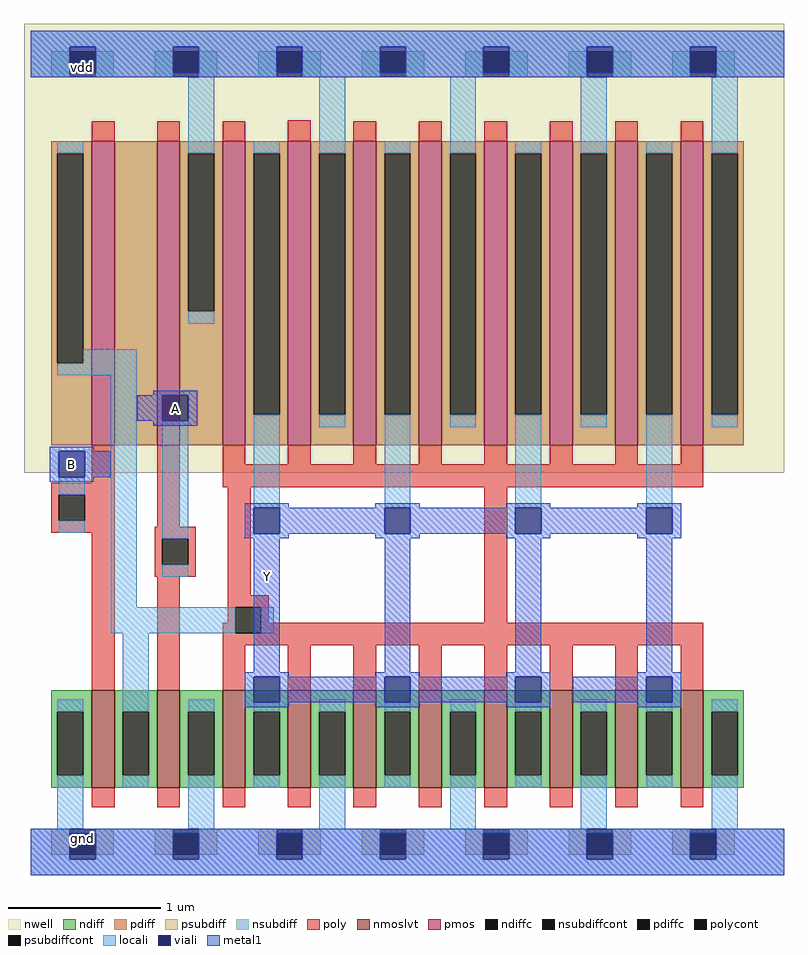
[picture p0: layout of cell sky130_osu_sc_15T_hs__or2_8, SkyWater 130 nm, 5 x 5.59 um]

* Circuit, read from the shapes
.subckt sky130_osu_sc_15T_hs__or2_8 Y A B
XM1 n1 B gnd gnd sky130_fd_pr__nfet_01v8_lvt w=0.64 l=0.15
XM2 gnd A n1 gnd sky130_fd_pr__nfet_01v8_lvt w=0.64 l=0.15
XM3 Y n1 gnd gnd sky130_fd_pr__nfet_01v8_lvt w=0.64 l=0.15 m=8
XM4 n2 B n1 vdd sky130_fd_pr__pfet_01v8 w=2 l=0.15
XM5 vdd A n2 vdd sky130_fd_pr__pfet_01v8 w=2 l=0.15
XM6 Y n1 vdd vdd sky130_fd_pr__pfet_01v8 w=2 l=0.15 m=8
.ends

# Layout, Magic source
magic
tech sky130A
magscale 1 2
<< nwell >>
rect -9 529 990 1119
<< nmoslvt >>
rect 80 115 110 243
rect 166 115 196 243
rect 252 115 282 243
rect 338 115 368 243
rect 424 115 454 243
rect 510 115 540 243
rect 596 115 626 243
rect 682 115 712 243
rect 768 115 798 243
rect 854 115 884 243
<< pmos >>
rect 80 565 110 965
rect 166 565 196 965
rect 252 565 282 965
rect 338 565 368 965
rect 424 565 454 965
rect 510 565 540 965
rect 596 565 626 965
rect 682 565 712 965
rect 768 565 798 965
rect 854 565 884 965
<< ndiff >>
rect 27 215 80 243
rect 27 131 35 215
rect 69 131 80 215
rect 27 115 80 131
rect 110 215 166 243
rect 110 131 121 215
rect 155 131 166 215
rect 110 115 166 131
rect 196 215 252 243
rect 196 131 207 215
rect 241 131 252 215
rect 196 115 252 131
rect 282 215 338 243
rect 282 131 293 215
rect 327 131 338 215
rect 282 115 338 131
rect 368 215 424 243
rect 368 131 379 215
rect 413 131 424 215
rect 368 115 424 131
rect 454 215 510 243
rect 454 131 465 215
rect 499 131 510 215
rect 454 115 510 131
rect 540 215 596 243
rect 540 131 551 215
rect 585 131 596 215
rect 540 115 596 131
rect 626 215 682 243
rect 626 131 637 215
rect 671 131 682 215
rect 626 115 682 131
rect 712 215 768 243
rect 712 131 723 215
rect 757 131 768 215
rect 712 115 768 131
rect 798 215 854 243
rect 798 131 809 215
rect 843 131 854 215
rect 798 115 854 131
rect 884 215 937 243
rect 884 131 895 215
rect 929 131 937 215
rect 884 115 937 131
<< pdiff >>
rect 27 949 80 965
rect 27 673 35 949
rect 69 673 80 949
rect 27 565 80 673
rect 110 565 166 965
rect 196 949 252 965
rect 196 741 207 949
rect 241 741 252 949
rect 196 565 252 741
rect 282 949 338 965
rect 282 605 293 949
rect 327 605 338 949
rect 282 565 338 605
rect 368 949 424 965
rect 368 605 379 949
rect 413 605 424 949
rect 368 565 424 605
rect 454 949 510 965
rect 454 605 465 949
rect 499 605 510 949
rect 454 565 510 605
rect 540 949 596 965
rect 540 605 551 949
rect 585 605 596 949
rect 540 565 596 605
rect 626 949 682 965
rect 626 605 637 949
rect 671 605 682 949
rect 626 565 682 605
rect 712 949 768 965
rect 712 605 723 949
rect 757 605 768 949
rect 712 565 768 605
rect 798 949 854 965
rect 798 605 809 949
rect 843 605 854 949
rect 798 565 854 605
rect 884 949 937 965
rect 884 605 895 949
rect 929 605 937 949
rect 884 565 937 605
<< ndiffc >>
rect 35 131 69 215
rect 121 131 155 215
rect 207 131 241 215
rect 293 131 327 215
rect 379 131 413 215
rect 465 131 499 215
rect 551 131 585 215
rect 637 131 671 215
rect 723 131 757 215
rect 809 131 843 215
rect 895 131 929 215
<< pdiffc >>
rect 35 673 69 949
rect 207 741 241 949
rect 293 605 327 949
rect 379 605 413 949
rect 465 605 499 949
rect 551 605 585 949
rect 637 605 671 949
rect 723 605 757 949
rect 809 605 843 949
rect 895 605 929 949
<< psubdiff >>
rect 27 27 51 61
rect 85 27 109 61
rect 163 27 187 61
rect 221 27 245 61
rect 299 27 323 61
rect 357 27 381 61
rect 435 27 459 61
rect 493 27 517 61
rect 571 27 595 61
rect 629 27 653 61
rect 707 27 731 61
rect 765 27 789 61
rect 843 27 867 61
rect 901 27 925 61
<< nsubdiff >>
rect 27 1049 51 1083
rect 85 1049 109 1083
rect 163 1049 187 1083
rect 221 1049 245 1083
rect 299 1049 323 1083
rect 357 1049 381 1083
rect 435 1049 459 1083
rect 493 1049 517 1083
rect 571 1049 595 1083
rect 629 1049 653 1083
rect 707 1049 731 1083
rect 765 1049 789 1083
rect 843 1049 867 1083
rect 901 1049 925 1083
<< psubdiffcont >>
rect 51 27 85 61
rect 187 27 221 61
rect 323 27 357 61
rect 459 27 493 61
rect 595 27 629 61
rect 731 27 765 61
rect 867 27 901 61
<< nsubdiffcont >>
rect 51 1049 85 1083
rect 187 1049 221 1083
rect 323 1049 357 1083
rect 459 1049 493 1083
rect 595 1049 629 1083
rect 731 1049 765 1083
rect 867 1049 901 1083
<< poly >>
rect 80 965 110 991
rect 166 965 196 991
rect 252 965 282 991
rect 338 965 368 992
rect 424 965 454 991
rect 510 965 540 991
rect 596 965 626 991
rect 682 965 712 991
rect 768 965 798 991
rect 854 965 884 991
rect 80 516 110 565
rect 27 500 110 516
rect 27 466 37 500
rect 71 466 110 500
rect 27 450 110 466
rect 166 458 196 565
rect 252 540 282 565
rect 338 540 368 565
rect 424 540 454 565
rect 510 540 540 565
rect 596 540 626 565
rect 682 540 712 565
rect 768 540 798 565
rect 854 540 884 565
rect 252 510 884 540
rect 80 243 110 450
rect 163 442 217 458
rect 163 408 173 442
rect 207 408 217 442
rect 163 392 217 408
rect 166 243 196 392
rect 259 368 289 510
rect 259 352 313 368
rect 259 332 269 352
rect 252 318 269 332
rect 303 332 313 352
rect 596 332 626 510
rect 303 318 884 332
rect 252 302 884 318
rect 252 243 282 302
rect 338 243 368 302
rect 424 243 454 302
rect 510 243 540 302
rect 596 243 626 302
rect 682 243 712 302
rect 768 243 798 302
rect 854 243 884 302
rect 80 89 110 115
rect 166 89 196 115
rect 252 89 282 115
rect 338 89 368 115
rect 424 89 454 115
rect 510 89 540 115
rect 596 89 626 115
rect 682 89 712 115
rect 768 89 798 115
rect 854 89 884 115
<< polycont >>
rect 37 466 71 500
rect 173 408 207 442
rect 269 318 303 352
<< locali >>
rect 0 1089 990 1110
rect 0 1049 51 1089
rect 85 1049 187 1089
rect 221 1049 323 1089
rect 357 1049 459 1089
rect 493 1049 595 1089
rect 629 1049 731 1089
rect 765 1049 867 1089
rect 901 1049 990 1089
rect 35 949 69 965
rect 207 949 241 1049
rect 207 725 241 741
rect 293 949 327 965
rect 69 673 139 691
rect 35 657 139 673
rect 37 500 71 523
rect 37 450 71 466
rect 105 352 139 657
rect 173 442 207 597
rect 293 483 327 605
rect 379 949 413 1049
rect 379 589 413 605
rect 465 949 499 965
rect 465 483 499 605
rect 551 949 585 1049
rect 551 589 585 605
rect 637 949 671 965
rect 637 483 671 605
rect 723 949 757 1049
rect 723 589 757 605
rect 809 949 843 965
rect 809 483 843 605
rect 895 949 929 1049
rect 895 589 929 605
rect 173 392 207 408
rect 105 318 269 352
rect 303 318 319 352
rect 35 215 69 231
rect 35 61 69 131
rect 121 215 155 318
rect 121 115 155 131
rect 207 215 241 231
rect 207 61 241 131
rect 293 215 327 227
rect 293 115 327 131
rect 379 215 413 231
rect 379 61 413 131
rect 465 215 499 227
rect 465 115 499 131
rect 551 215 585 231
rect 551 61 585 131
rect 637 215 671 227
rect 637 115 671 131
rect 723 215 757 231
rect 723 61 757 131
rect 809 215 843 227
rect 809 115 843 131
rect 895 215 929 231
rect 895 61 929 131
rect 0 21 51 61
rect 85 21 187 61
rect 221 21 323 61
rect 357 21 459 61
rect 493 21 595 61
rect 629 21 731 61
rect 765 21 867 61
rect 901 21 990 61
rect 0 0 990 21
<< viali >>
rect 51 1083 85 1089
rect 51 1055 85 1083
rect 187 1083 221 1089
rect 187 1055 221 1083
rect 323 1083 357 1089
rect 323 1055 357 1083
rect 459 1083 493 1089
rect 459 1055 493 1083
rect 595 1083 629 1089
rect 595 1055 629 1083
rect 731 1083 765 1089
rect 731 1055 765 1083
rect 867 1083 901 1089
rect 867 1055 901 1083
rect 37 523 71 557
rect 173 597 207 631
rect 293 449 327 483
rect 465 449 499 483
rect 637 449 671 483
rect 809 449 843 483
rect 293 227 327 261
rect 465 227 499 261
rect 637 227 671 261
rect 809 227 843 261
rect 51 27 85 55
rect 51 21 85 27
rect 187 27 221 55
rect 187 21 221 27
rect 323 27 357 55
rect 323 21 357 27
rect 459 27 493 55
rect 459 21 493 27
rect 595 27 629 55
rect 595 21 629 27
rect 731 27 765 55
rect 731 21 765 27
rect 867 27 901 55
rect 867 21 901 27
<< metal1 >>
rect 0 1089 990 1110
rect 0 1055 51 1089
rect 85 1055 187 1089
rect 221 1055 323 1089
rect 357 1055 459 1089
rect 493 1055 595 1089
rect 629 1055 731 1089
rect 765 1055 867 1089
rect 901 1055 990 1089
rect 0 1049 990 1055
rect 161 631 219 637
rect 140 597 173 631
rect 207 597 219 631
rect 161 591 219 597
rect 25 557 83 563
rect 25 523 37 557
rect 71 523 105 557
rect 25 517 83 523
rect 281 483 339 489
rect 453 483 511 489
rect 625 483 683 489
rect 797 483 855 489
rect 281 449 293 483
rect 327 449 465 483
rect 499 449 637 483
rect 671 449 809 483
rect 843 449 855 483
rect 281 443 339 449
rect 453 443 511 449
rect 625 443 683 449
rect 797 443 855 449
rect 293 267 327 443
rect 465 267 499 443
rect 637 267 671 443
rect 809 267 843 443
rect 281 261 339 267
rect 453 261 511 267
rect 625 261 683 267
rect 797 261 855 267
rect 281 227 293 261
rect 327 227 465 261
rect 499 227 637 261
rect 671 227 683 261
rect 712 227 809 261
rect 843 227 855 261
rect 281 221 339 227
rect 453 221 511 227
rect 625 221 683 227
rect 797 221 855 227
rect 0 55 990 61
rect 0 21 51 55
rect 85 21 187 55
rect 221 21 323 55
rect 357 21 459 55
rect 493 21 595 55
rect 629 21 731 55
rect 765 21 867 55
rect 901 21 990 55
rect 0 0 990 21
<< labels >>
rlabel metal1 311 392 311 392 1 Y
port 1 n
rlabel viali 190 614 190 614 1 A
port 2 n
rlabel viali 54 540 54 540 1 B
port 3 n
rlabel viali 68 48 68 48 1 gnd
rlabel viali 68 1062 68 1062 1 vdd
<< end >>
